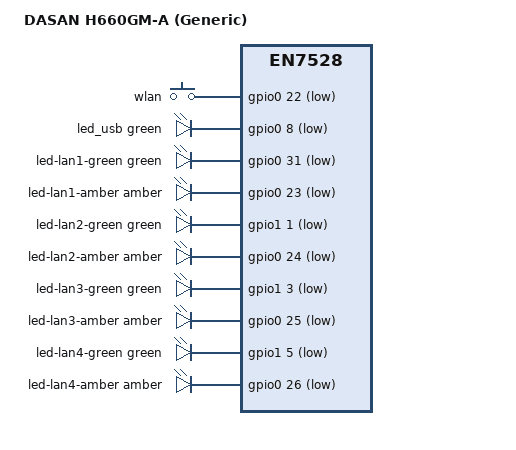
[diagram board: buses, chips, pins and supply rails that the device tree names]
// SPDX-License-Identifier: (GPL-2.0-only OR BSD-2-Clause)
/dts-v1/;

#include "en7528_dasan_h660gm-a.dtsi"

/ {
	model = "DASAN H660GM-A (Generic)";
	compatible = "dasan,h660gm-a-generic", "econet,en7528";

	keys {
		key-wlan {
			label = "wlan";
			gpios = <&gpio0 22 GPIO_ACTIVE_LOW>;
			linux,code = <KEY_RFKILL>;
		};
	};

	leds {
		led_usb: usb {
			color = <LED_COLOR_ID_GREEN>;
			function = LED_FUNCTION_USB;
			gpios = <&gpio0 8 GPIO_ACTIVE_LOW>;
			linux,default-trigger = "usbport";
			trigger-sources = <&usb>;
		};

		led-lan1-green {
			color = <LED_COLOR_ID_GREEN>;
			function = LED_FUNCTION_LAN;
			function-enumerator = <1>;
			gpios = <&gpio0 31 GPIO_ACTIVE_LOW>;
		};

		led-lan1-amber {
			color = <LED_COLOR_ID_AMBER>;
			function = LED_FUNCTION_LAN;
			function-enumerator = <1>;
			gpios = <&gpio0 23 GPIO_ACTIVE_LOW>;
		};

		led-lan2-green {
			color = <LED_COLOR_ID_GREEN>;
			function = LED_FUNCTION_LAN;
			function-enumerator = <2>;
			gpios = <&gpio1 1 GPIO_ACTIVE_LOW>;
		};

		led-lan2-amber {
			color = <LED_COLOR_ID_AMBER>;
			function = LED_FUNCTION_LAN;
			function-enumerator = <2>;
			gpios = <&gpio0 24 GPIO_ACTIVE_LOW>;
		};

		led-lan3-green {
			color = <LED_COLOR_ID_GREEN>;
			function = LED_FUNCTION_LAN;
			function-enumerator = <3>;
			gpios = <&gpio1 3 GPIO_ACTIVE_LOW>;
		};

		led-lan3-amber {
			color = <LED_COLOR_ID_AMBER>;
			function = LED_FUNCTION_LAN;
			function-enumerator = <3>;
			gpios = <&gpio0 25 GPIO_ACTIVE_LOW>;
		};

		led-lan4-green {
			color = <LED_COLOR_ID_GREEN>;
			function = LED_FUNCTION_LAN;
			function-enumerator = <4>;
			gpios = <&gpio1 5 GPIO_ACTIVE_LOW>;
		};

		led-lan4-amber {
			color = <LED_COLOR_ID_AMBER>;
			function = LED_FUNCTION_LAN;
			function-enumerator = <4>;
			gpios = <&gpio0 26 GPIO_ACTIVE_LOW>;
		};
	};
};

&partitions {
	/* Concatenated with tclinux_rootfs to form the UBI volume */
	root1: partition@60c0000 {
		label = "unknown";
		reg = <0x60c0000 0xd00000>;
	};

	partition@6dc0000 {
		label = "reservearea";
		reg = <0x6dc0000 0x240000>;
		nvmem-layout {
			compatible = "fixed-layout";
			#address-cells = <1>;
			#size-cells = <1>;

			eeprom_reservearea_40000: eeprom@40000 {
				reg = <0x40000 0x4da8>;
			};

			eeprom_reservearea_1c0000: eeprom@1c0000 {
				reg = <0x1c0000 0x400>;
			};
		};
	};
};

/* Sockets are numbered in reverse switch port order: LAN1 is port 4. */
&gsw_port1 {
	label = "lan4";
};

&gsw_port2 {
	label = "lan3";
};

&gsw_port3 {
	label = "lan2";
};

&gsw_port4 {
	label = "lan1";
};
